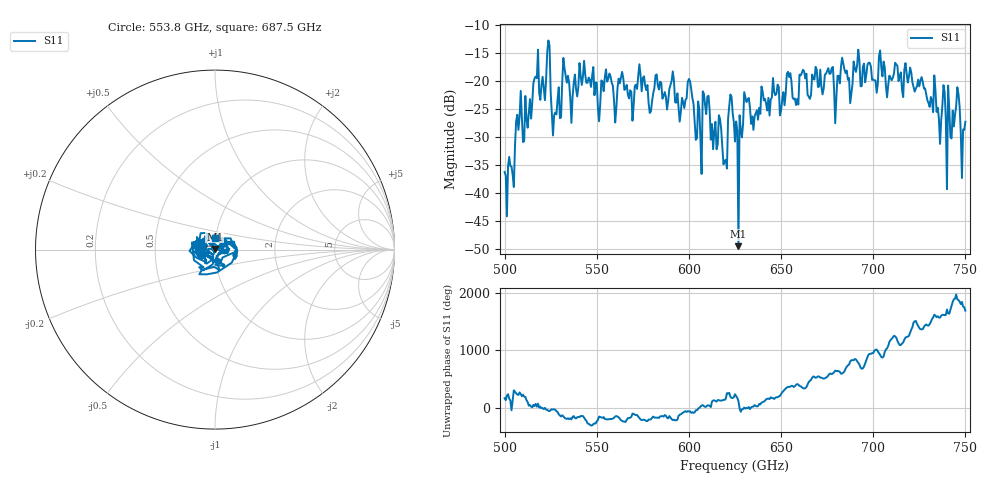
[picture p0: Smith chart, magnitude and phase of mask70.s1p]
!Created with skrf (http://scikit-rf.org).
# GHz S MA R 50.0
!freq magS11 angS11
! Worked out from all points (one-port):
!   401 points, 500 GHz to 750 GHz, reference 50 ohm
!   lowest |S11| = -49.5 dB at 626.9 GHz (marker M1), VSWR 1.01, Z = 49.9 + j0.306 ohm
!   |S11| at or under -10 dB: start of sweep to end of sweep
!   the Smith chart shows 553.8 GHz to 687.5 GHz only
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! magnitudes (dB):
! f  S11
! 500 GHz  -36.2
! 516.9 GHz  -19.1
! 520.6 GHz  -19.2
! 523.8 GHz  -12.7
! 526.9 GHz  -26.0
! 531.2 GHz  -20.2
! 562.5 GHz  -20.4
! 590.6 GHz  -19.9
! 593.8 GHz  -22.1
! 600.6 GHz  -20.0
! 605.6 GHz  -25.0
! 609.4 GHz  -25.9
! 619.4 GHz  -34.3
! 622.5 GHz  -22.3
! 625 GHz  -30.8
! 626.9 GHz  -49.5
! 631.2 GHz  -23.7
! 635 GHz  -28.7
! 656.2 GHz  -22.9
! 676.9 GHz  -18.6
! 680 GHz  -22.8
! 683.8 GHz  -16.8
! 687.5 GHz  -23.9
! 690.6 GHz  -18.3
! 718.8 GHz  -20.2
! 741.2 GHz  -25.0
! 745.6 GHz  -21.1
! 750 GHz  -27.2
